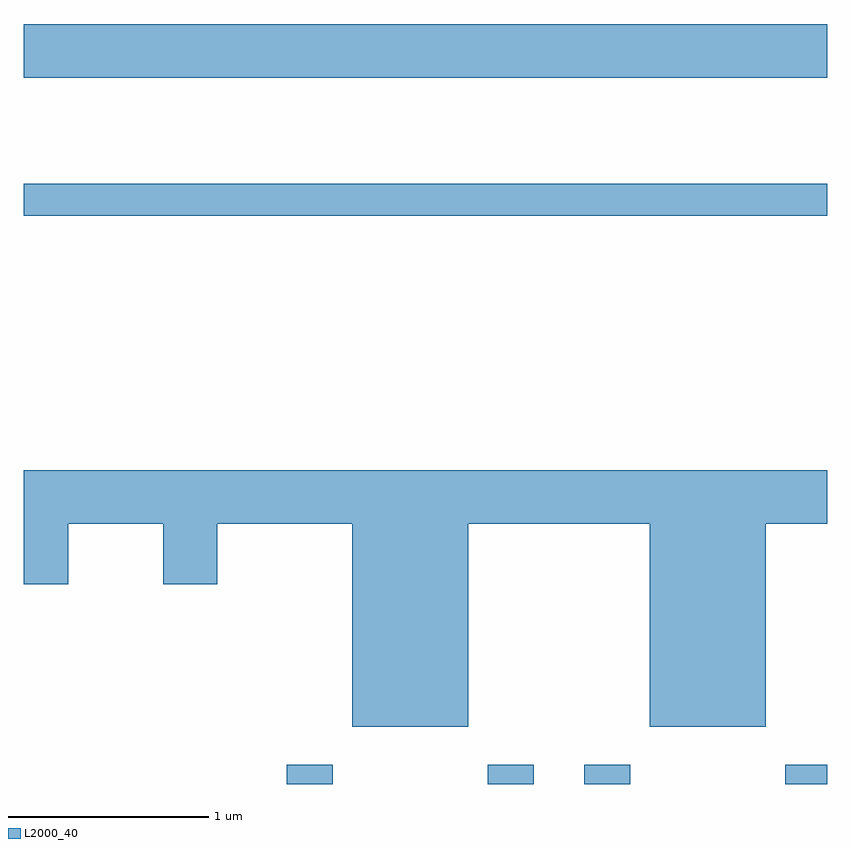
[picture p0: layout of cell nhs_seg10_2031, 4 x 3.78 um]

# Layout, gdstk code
import gdstk
lib = gdstk.Library(unit=1e-6, precision=1e-09)
def R(c, l, rs):  # rectangles x0, y0, x1, y1
    for r in rs: c.add(gdstk.rectangle(r[:2], r[2:], *l))
def P(c, l, *ps):  # polygons
    for p in ps: c.add(gdstk.Polygon(p, *l))
L2000_40 = (2000, 40)

nhs_seg10_2031 = lib.new_cell('nhs_seg10_2031')
R(nhs_seg10_2031, L2000_40, [(244.921,2212.522,245.149,2212.619), (245.921,2212.522,246.149,2212.619), (246.401,2212.522,246.629,2212.619), (247.401,2212.522,247.611,2212.619), (243.611,2215.351,247.611,2215.509), (243.611,2216.036,247.611,2216.304)])
P(nhs_seg10_2031, L2000_40, [(243.611,2213.516),(243.834,2213.516),(243.834,2213.816),(244.306,2213.816),(244.306,2213.516),(244.574,2213.516),(244.574,2213.816),(245.246,2213.816),(245.246,2212.806),(245.824,2212.806),(245.824,2213.816),(246.726,2213.816),(246.726,2212.806),(247.304,2212.806),(247.304,2213.816),(247.611,2213.816),(247.611,2214.084),(243.611,2214.084)])

lib.write_gds('nhs_seg10_2031.gds')
